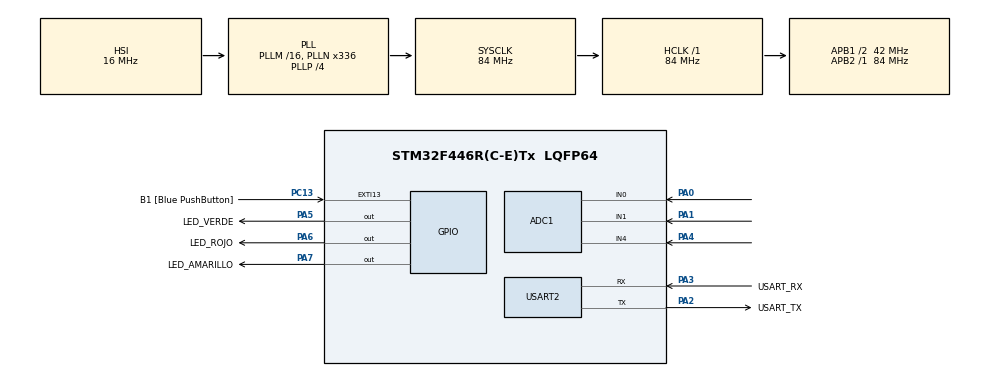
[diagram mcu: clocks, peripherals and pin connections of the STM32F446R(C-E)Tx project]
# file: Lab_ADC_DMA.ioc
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ADC1.Channel-0\#ChannelRegularConversion=ADC_CHANNEL_0
ADC1.Channel-1\#ChannelRegularConversion=ADC_CHANNEL_1
ADC1.Channel-2\#ChannelRegularConversion=ADC_CHANNEL_4
ADC1.ContinuousConvMode=ENABLE
ADC1.DMAContinuousRequests=ENABLE
ADC1.NbrOfConversion=3
ADC1.NbrOfConversionFlag=1
ADC1.Rank-0\#ChannelRegularConversion=1
ADC1.Rank-1\#ChannelRegularConversion=2
ADC1.Rank-2\#ChannelRegularConversion=3
ADC1.SamplingTime-0\#ChannelRegularConversion=ADC_SAMPLETIME_84CYCLES
ADC1.SamplingTime-1\#ChannelRegularConversion=ADC_SAMPLETIME_84CYCLES
ADC1.SamplingTime-2\#ChannelRegularConversion=ADC_SAMPLETIME_84CYCLES
ADC1.master=1
Dma.ADC1.0.Direction=DMA_PERIPH_TO_MEMORY
Dma.ADC1.0.FIFOMode=DMA_FIFOMODE_DISABLE
Dma.ADC1.0.Instance=DMA2_Stream0
Dma.ADC1.0.MemDataAlignment=DMA_MDATAALIGN_HALFWORD
Dma.ADC1.0.MemInc=DMA_MINC_ENABLE
Dma.ADC1.0.Mode=DMA_CIRCULAR
Dma.ADC1.0.PeriphDataAlignment=DMA_PDATAALIGN_HALFWORD
Dma.ADC1.0.PeriphInc=DMA_PINC_DISABLE
Dma.ADC1.0.Priority=DMA_PRIORITY_LOW
Dma.Request0=ADC1
Mcu.Family=STM32F4
Mcu.Name=STM32F446R(C-E)Tx
Mcu.Package=LQFP64
NVIC.DMA2_Stream0_IRQn=true\:0\:0\:false\:false\:true\:false\:true\:true
NVIC.PriorityGroup=NVIC_PRIORITYGROUP_0
PA0-WKUP.Signal=ADCx_IN0
PA1.Signal=ADCx_IN1
PA13.GPIO_Label=TMS
PA13.Signal=SYS_JTMS-SWDIO
PA14.GPIO_Label=TCK
PA14.Signal=SYS_JTCK-SWCLK
PA2.GPIO_Label=USART_TX
PA2.Mode=Asynchronous
PA2.Signal=USART2_TX
PA3.GPIO_Label=USART_RX
PA3.Mode=Asynchronous
PA3.Signal=USART2_RX
PA4.Signal=ADCx_IN4
PA5.GPIO_Label=LED_VERDE
PA5.Signal=GPIO_Output
PA6.GPIO_Label=LED_ROJO
PA6.Signal=GPIO_Output
PA7.GPIO_Label=LED_AMARILLO
PA7.Signal=GPIO_Output
PB3.GPIO_Label=SWO
PB3.Signal=SYS_JTDO-SWO
PC13.GPIO_Label=B1 [Blue PushButton]
PC13.GPIO_ModeDefaultEXTI=GPIO_MODE_IT_FALLING
PC13.Signal=GPXTI13
PC14-OSC32_IN.Signal=RCC_OSC32_IN
PC15-OSC32_OUT.Signal=RCC_OSC32_OUT
PH0-OSC_IN.Signal=RCC_OSC_IN
PH1-OSC_OUT.Signal=RCC_OSC_OUT
ProjectManager.HeapSize=0x200
ProjectManager.StackSize=0x400
ProjectManager.TargetToolchain=STM32CubeIDE
RCC.AHBFreq_Value=84000000
RCC.APB1CLKDivider=RCC_HCLK_DIV2
RCC.APB1Freq_Value=42000000
RCC.APB1TimFreq_Value=84000000
RCC.APB2Freq_Value=84000000
RCC.APB2TimFreq_Value=84000000
RCC.CortexFreq_Value=84000000
RCC.FLatency-AdvancedSettings=FLASH_LATENCY_2
RCC.HCLKFreq_Value=84000000
RCC.HSE_VALUE=8000000
RCC.HSI_VALUE=16000000
RCC.LSE_VALUE=32768
RCC.PLLN=336
RCC.PLLP=RCC_PLLP_DIV4
RCC.SYSCLKFreq_VALUE=84000000
RCC.SYSCLKSource=RCC_SYSCLKSOURCE_PLLCLK
RCC.USBFreq_Value=168000000
RCC.VCOOutputFreq_Value=336000000
SH.ADCx_IN0.0=ADC1_IN0,IN0
SH.ADCx_IN1.0=ADC1_IN1,IN1
SH.ADCx_IN4.0=ADC1_IN4,IN4
USART2.VirtualMode=VM_ASYNC
board=NUCLEO-F446RE

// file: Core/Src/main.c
/* USER CODE BEGIN Header */
/**
  ******************************************************************************
  * @file           : main.c
  * @brief          : Main program body
  ******************************************************************************
  * @attention
  *
  * Copyright (c) 2026 STMicroelectronics.
  * All rights reserved.
  *
  * This software is licensed under terms that can be found in the LICENSE file
  * in the root directory of this software component.
  * If no LICENSE file comes with this software, it is provided AS-IS.
  *
  ******************************************************************************
  */
/* USER CODE END Header */
#include "main.h"

/* USER CODE BEGIN Includes */
#include <stdio.h>    // Permite utilizar sprintf()
#include <string.h>   // Permite utilizar strlen()

/* USER CODE END Includes */

ADC_HandleTypeDef hadc1;
DMA_HandleTypeDef hdma_adc1;

UART_HandleTypeDef huart2;

/* USER CODE BEGIN PV */

// MA guarda las tres lecturas.
volatile uint16_t adcValores[3] = {0};

// Valores ADC- guarda cada valor del potenciómetro
volatile uint16_t valorADC1 = 0;
volatile uint16_t valorADC2 = 0;
volatile uint16_t valorADC3 = 0;

// Voltajes calculados
volatile float voltaje1 = 0.0f;
volatile float voltaje2 = 0.0f;
volatile float voltaje3 = 0.0f;

//FLOAT- decimales
// Variables biológicas simuladas
volatile float temperatura = 0.0f;
volatile uint16_t frecuencia = 0;
volatile uint16_t glucosa = 0;

// Estados de alarma (1 = alerta, 0 = normal)
volatile uint8_t alarmaTemp = 0;
volatile uint8_t alarmaFC = 0;
volatile uint8_t alarmaGlucosa = 0;

// Mensaje para enviar por UART
char mensaje[180];
/* USER CODE END PV */

void SystemClock_Config(void);
static void MX_GPIO_Init(void);
static void MX_DMA_Init(void);
static void MX_ADC1_Init(void);
static void MX_USART2_UART_Init(void);

int main(void)
{

  /* MCU Configuration--------------------------------------------------------*/

  /* Reset of all peripherals, Initializes the Flash interface and the Systick. */
  HAL_Init();

  /* Configure the system clock */
  SystemClock_Config();

  /* Initialize all configured peripherals */
  MX_GPIO_Init();
  MX_DMA_Init();
  MX_ADC1_Init();
  MX_USART2_UART_Init();
  /* USER CODE BEGIN 2 */

  // Lectura continua de los tres canales mediante DMA
  //Inicia ADC con DMA
  //ADC1
  //3 valores
  if (HAL_ADC_Start_DMA(&hadc1, (uint32_t*)adcValores, 3) != HAL_OK)
  {
      Error_Handler();
  }

  /* USER CODE END 2 */

  /* Infinite loop */
  while (1)
  {

	    /* USER CODE BEGIN 3 */

	    // Valores de cada canal ADC desde el DMA
	    valorADC1 = adcValores[0];
	    valorADC2 = adcValores[1];
	    valorADC3 = adcValores[2];

	    // Convertir los valores ADC a voltaje
	    voltaje1 = (valorADC1 * 3.3f) / 4095.0f;
	    voltaje2 = (valorADC2 * 3.3f) / 4095.0f;
	    voltaje3 = (valorADC3 * 3.3f) / 4095.0f;

	    //
	    // Simular temperatura corporal entre 34 y 42 grados
	    temperatura = 34.0f + (valorADC1 * 8.0f / 4095.0f);

	    // Simular frecuencia cardiaca entre 40 y 160 bpm
	    frecuencia = 40 + ((uint32_t)valorADC2 * 120) / 4095;

	    // Simular glucosa entre 40 y 240 mg/dL
	    glucosa = 40 + ((uint32_t)valorADC3 * 200) / 4095;

	    //ALARMA -------------------------

	    // Evaluar si las variables están fuera del rango NORMAL :)
	    alarmaTemp = (temperatura < 36.0f || temperatura > 37.5f);
	    alarmaFC = (frecuencia < 60 || frecuencia > 100);
	    alarmaGlucosa = (glucosa < 70 || glucosa > 140);

	    // LED VERDE -> alerta de temperatura
	    HAL_GPIO_WritePin(LED_VERDE_GPIO_Port, LED_VERDE_Pin,
	                      alarmaTemp ? GPIO_PIN_SET : GPIO_PIN_RESET);

	    // LED ROJO -> alerta de frecuencia cardiaca
	    HAL_GPIO_WritePin(LED_ROJO_GPIO_Port, LED_ROJO_Pin,
	                      alarmaFC ? GPIO_PIN_SET : GPIO_PIN_RESET);

	    // LED AMARILLO -> alerta de glucosa
	    HAL_GPIO_WritePin(LED_AMARILLO_GPIO_Port, LED_AMARILLO_Pin,
	                      alarmaGlucosa ? GPIO_PIN_SET : GPIO_PIN_RESET);

	    // ? -> 1 Prende
	    // : -> 0 Apaga

	    //  mensaje de las tres señales
	    // Temperatura en decimal
	    int temp10 = (int)(temperatura * 10.0f + 0.5f);

	    //mensaje 180 bytes
	    snprintf(mensaje, sizeof(mensaje),
	             "ADC1:%u TEMP:%d.%dC %s | ADC2:%u FC:%ubpm %s | ADC3:%u GLUC:%umg/dL %s\r\n",
	             (unsigned)valorADC1,
	             temp10 / 10, // Entero
	             temp10 % 10, //Decimal
	             alarmaTemp ? "ALERTA" : "NORMAL",
	             (unsigned)valorADC2,
	             (unsigned)frecuencia,
	             alarmaFC ? "ALERTA" : "NORMAL",
	             (unsigned)valorADC3,
	             (unsigned)glucosa,
	             alarmaGlucosa ? "ALERTA" : "NORMAL");

	    // %u -> Número entero positivo
	    //%d ->  Número entero con signo
	    //%s -> Texto
	    //\r\n -> salto

	    // Enviar resultados a WCH por USART2
	    HAL_UART_Transmit(&huart2, (uint8_t*)mensaje,
	                      strlen(mensaje), 100);

	    // Actualizar la visualización cada 200 ms
	    HAL_Delay(200);
	 }
  /* USER CODE END 3 */
}

void SystemClock_Config(void)
{
  RCC_OscInitTypeDef RCC_OscInitStruct = {0};
  RCC_ClkInitTypeDef RCC_ClkInitStruct = {0};

  /** Configure the main internal regulator output voltage
  */
  __HAL_RCC_PWR_CLK_ENABLE();
  __HAL_PWR_VOLTAGESCALING_CONFIG(PWR_REGULATOR_VOLTAGE_SCALE3);

  /** Initializes the RCC Oscillators according to the specified parameters
  * in the RCC_OscInitTypeDef structure.
  */
  RCC_OscInitStruct.OscillatorType = RCC_OSCILLATORTYPE_HSI;
  RCC_OscInitStruct.HSIState = RCC_HSI_ON;
  RCC_OscInitStruct.HSICalibrationValue = RCC_HSICALIBRATION_DEFAULT;
  RCC_OscInitStruct.PLL.PLLState = RCC_PLL_ON;
  RCC_OscInitStruct.PLL.PLLSource = RCC_PLLSOURCE_HSI;
  RCC_OscInitStruct.PLL.PLLM = 16;
  RCC_OscInitStruct.PLL.PLLN = 336;
  RCC_OscInitStruct.PLL.PLLP = RCC_PLLP_DIV4;
  RCC_OscInitStruct.PLL.PLLQ = 2;
  RCC_OscInitStruct.PLL.PLLR = 2;
  if (HAL_RCC_OscConfig(&RCC_OscInitStruct) != HAL_OK)
  {
    Error_Handler();
  }

  /** Initializes the CPU, AHB and APB buses clocks
  */
  RCC_ClkInitStruct.ClockType = RCC_CLOCKTYPE_HCLK|RCC_CLOCKTYPE_SYSCLK
                              |RCC_CLOCKTYPE_PCLK1|RCC_CLOCKTYPE_PCLK2;
  RCC_ClkInitStruct.SYSCLKSource = RCC_SYSCLKSOURCE_PLLCLK;
  RCC_ClkInitStruct.AHBCLKDivider = RCC_SYSCLK_DIV1;
  RCC_ClkInitStruct.APB1CLKDivider = RCC_HCLK_DIV2;
  RCC_ClkInitStruct.APB2CLKDivider = RCC_HCLK_DIV1;

  if (HAL_RCC_ClockConfig(&RCC_ClkInitStruct, FLASH_LATENCY_2) != HAL_OK)
  {
    Error_Handler();
  }
}

static void MX_ADC1_Init(void)
{

  ADC_ChannelConfTypeDef sConfig = {0};

  /** Configure the global features of the ADC (Clock, Resolution, Data Alignment and number of conversion)
  */
  hadc1.Instance = ADC1;
  hadc1.Init.ClockPrescaler = ADC_CLOCK_SYNC_PCLK_DIV4;
  hadc1.Init.Resolution = ADC_RESOLUTION_12B;
  hadc1.Init.ScanConvMode = ENABLE;
  hadc1.Init.ContinuousConvMode = ENABLE;
  hadc1.Init.DiscontinuousConvMode = DISABLE;
  hadc1.Init.ExternalTrigConvEdge = ADC_EXTERNALTRIGCONVEDGE_NONE;
  hadc1.Init.ExternalTrigConv = ADC_SOFTWARE_START;
  hadc1.Init.DataAlign = ADC_DATAALIGN_RIGHT;
  hadc1.Init.NbrOfConversion = 3;
  hadc1.Init.DMAContinuousRequests = ENABLE;
  hadc1.Init.EOCSelection = ADC_EOC_SINGLE_CONV;
  if (HAL_ADC_Init(&hadc1) != HAL_OK)
  {
    Error_Handler();
  }

  /** Configure for the selected ADC regular channel its corresponding rank in the sequencer and its sample time.
  */
  sConfig.Channel = ADC_CHANNEL_0;
  sConfig.Rank = 1;
  sConfig.SamplingTime = ADC_SAMPLETIME_84CYCLES;
  if (HAL_ADC_ConfigChannel(&hadc1, &sConfig) != HAL_OK)
  {
    Error_Handler();
  }

  /** Configure for the selected ADC regular channel its corresponding rank in the sequencer and its sample time.
  */
  sConfig.Channel = ADC_CHANNEL_1;
  sConfig.Rank = 2;
  if (HAL_ADC_ConfigChannel(&hadc1, &sConfig) != HAL_OK)
  {
    Error_Handler();
  }

  /** Configure for the selected ADC regular channel its corresponding rank in the sequencer and its sample time.
  */
  sConfig.Channel = ADC_CHANNEL_4;
  sConfig.Rank = 3;
  if (HAL_ADC_ConfigChannel(&hadc1, &sConfig) != HAL_OK)
  {
    Error_Handler();
  }

}

static void MX_USART2_UART_Init(void)
{

  huart2.Instance = USART2;
  huart2.Init.BaudRate = 115200;
  huart2.Init.WordLength = UART_WORDLENGTH_8B;
  huart2.Init.StopBits = UART_STOPBITS_1;
  huart2.Init.Parity = UART_PARITY_NONE;
  huart2.Init.Mode = UART_MODE_TX_RX;
  huart2.Init.HwFlowCtl = UART_HWCONTROL_NONE;
  huart2.Init.OverSampling = UART_OVERSAMPLING_16;
  if (HAL_UART_Init(&huart2) != HAL_OK)
  {
    Error_Handler();
  }

}

static void MX_DMA_Init(void)
{

  /* DMA controller clock enable */
  __HAL_RCC_DMA2_CLK_ENABLE();

  /* DMA interrupt init */
  /* DMA2_Stream0_IRQn interrupt configuration */
  HAL_NVIC_SetPriority(DMA2_Stream0_IRQn, 0, 0);
  HAL_NVIC_EnableIRQ(DMA2_Stream0_IRQn);

}

static void MX_GPIO_Init(void)
{
  GPIO_InitTypeDef GPIO_InitStruct = {0};

  /* GPIO Ports Clock Enable */
  __HAL_RCC_GPIOC_CLK_ENABLE();
  __HAL_RCC_GPIOH_CLK_ENABLE();
  __HAL_RCC_GPIOA_CLK_ENABLE();
  __HAL_RCC_GPIOB_CLK_ENABLE();

  /*Configure GPIO pin Output Level */
  HAL_GPIO_WritePin(GPIOA, LED_VERDE_Pin|LED_ROJO_Pin|LED_AMARILLO_Pin, GPIO_PIN_RESET);

  /*Configure GPIO pin : B1_Pin */
  GPIO_InitStruct.Pin = B1_Pin;
  GPIO_InitStruct.Mode = GPIO_MODE_IT_FALLING;
  GPIO_InitStruct.Pull = GPIO_NOPULL;
  HAL_GPIO_Init(B1_GPIO_Port, &GPIO_InitStruct);

  /*Configure GPIO pins : LED_VERDE_Pin LED_ROJO_Pin LED_AMARILLO_Pin */
  GPIO_InitStruct.Pin = LED_VERDE_Pin|LED_ROJO_Pin|LED_AMARILLO_Pin;
  GPIO_InitStruct.Mode = GPIO_MODE_OUTPUT_PP;
  GPIO_InitStruct.Pull = GPIO_NOPULL;
  GPIO_InitStruct.Speed = GPIO_SPEED_FREQ_LOW;
  HAL_GPIO_Init(GPIOA, &GPIO_InitStruct);

}

void Error_Handler(void)
{
  __disable_irq();
  while (1)
  {
  }
}
